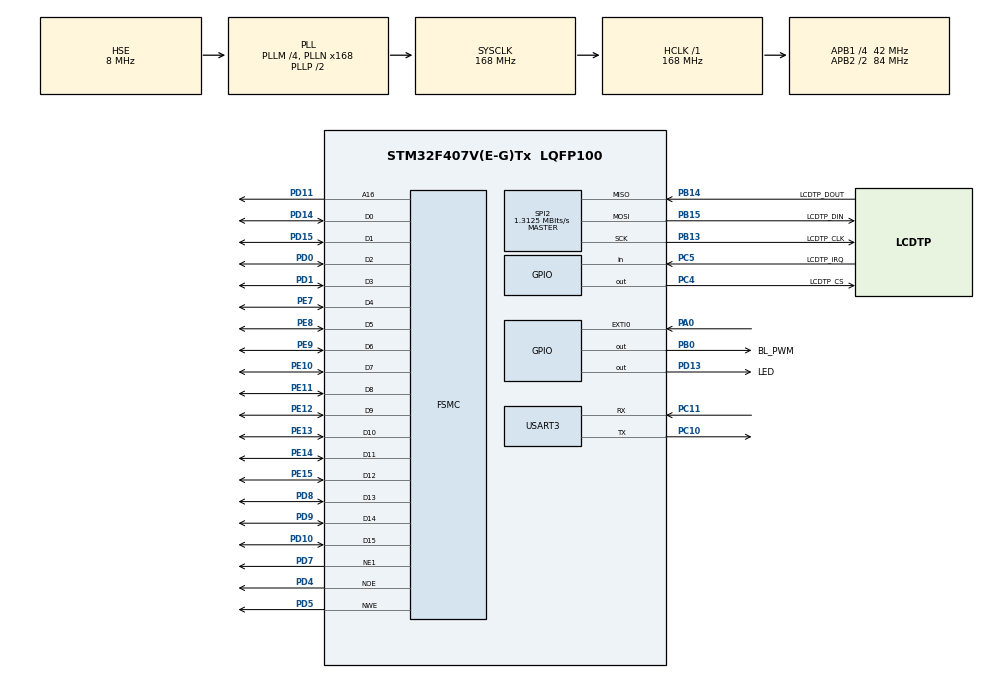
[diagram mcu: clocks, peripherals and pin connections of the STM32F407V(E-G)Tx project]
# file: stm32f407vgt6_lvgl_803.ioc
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Dma.MEMTOMEM.0.Direction=DMA_MEMORY_TO_MEMORY
Dma.MEMTOMEM.0.FIFOMode=DMA_FIFOMODE_ENABLE
Dma.MEMTOMEM.0.FIFOThreshold=DMA_FIFO_THRESHOLD_FULL
Dma.MEMTOMEM.0.Instance=DMA2_Stream0
Dma.MEMTOMEM.0.MemBurst=DMA_MBURST_SINGLE
Dma.MEMTOMEM.0.MemDataAlignment=DMA_MDATAALIGN_HALFWORD
Dma.MEMTOMEM.0.MemInc=DMA_MINC_ENABLE
Dma.MEMTOMEM.0.Mode=DMA_NORMAL
Dma.MEMTOMEM.0.PeriphBurst=DMA_PBURST_SINGLE
Dma.MEMTOMEM.0.PeriphDataAlignment=DMA_PDATAALIGN_HALFWORD
Dma.MEMTOMEM.0.PeriphInc=DMA_PINC_ENABLE
Dma.MEMTOMEM.0.Priority=DMA_PRIORITY_VERY_HIGH
Dma.Request0=MEMTOMEM
FSMC.AddressSetupTime1=0x02
FSMC.BusTurnAroundDuration1=0x00
FSMC.DataSetupTime1=0x05
Mcu.Family=STM32F4
Mcu.Name=STM32F407V(E-G)Tx
Mcu.Package=LQFP100
NVIC.DMA2_Stream0_IRQn=true\:1\:0\:true\:false\:true\:true\:true
NVIC.EXTI0_IRQn=true\:5\:0\:true\:false\:true\:true\:true
NVIC.PriorityGroup=NVIC_PRIORITYGROUP_4
PA0-WKUP.GPIO_ModeDefaultEXTI=GPIO_MODE_IT_FALLING
PA0-WKUP.Signal=GPXTI0
PB0.GPIO_Label=BL_PWM
PB0.Signal=GPIO_Output
PB13.GPIO_Label=LCDTP_CLK
PB13.Mode=Full_Duplex_Master
PB13.Signal=SPI2_SCK
PB14.GPIO_Label=LCDTP_DOUT
PB14.Mode=Full_Duplex_Master
PB14.Signal=SPI2_MISO
PB15.GPIO_Label=LCDTP_DIN
PB15.Mode=Full_Duplex_Master
PB15.Signal=SPI2_MOSI
PC10.Mode=Asynchronous
PC10.Signal=USART3_TX
PC11.Mode=Asynchronous
PC11.Signal=USART3_RX
PC4.GPIO_Label=LCDTP_CS
PC4.Signal=GPIO_Output
PC5.GPIO_Label=LCDTP_IRQ
PC5.Signal=GPIO_Input
PD0.Mode=16b-d1
PD0.Signal=FSMC_D2
PD1.Mode=16b-d1
PD1.Signal=FSMC_D3
PD10.Mode=16b-d1
PD10.Signal=FSMC_D15
PD11.Mode=A16_1
PD11.Signal=FSMC_A16
PD13.GPIO_Label=LED
PD13.Signal=GPIO_Output
PD14.Mode=16b-d1
PD14.Signal=FSMC_D0
PD15.Mode=16b-d1
PD15.Signal=FSMC_D1
PD4.Mode=Lcd1
PD4.Signal=FSMC_NOE
PD5.Mode=Lcd1
PD5.Signal=FSMC_NWE
PD7.Mode=NorPsramChipSelect1_1
PD7.Signal=FSMC_NE1
PD8.Mode=16b-d1
PD8.Signal=FSMC_D13
PD9.Mode=16b-d1
PD9.Signal=FSMC_D14
PE10.Mode=16b-d1
PE10.Signal=FSMC_D7
PE11.Mode=16b-d1
PE11.Signal=FSMC_D8
PE12.Mode=16b-d1
PE12.Signal=FSMC_D9
PE13.Mode=16b-d1
PE13.Signal=FSMC_D10
PE14.Mode=16b-d1
PE14.Signal=FSMC_D11
PE15.Mode=16b-d1
PE15.Signal=FSMC_D12
PE7.Mode=16b-d1
PE7.Signal=FSMC_D4
PE8.Mode=16b-d1
PE8.Signal=FSMC_D5
PE9.Mode=16b-d1
PE9.Signal=FSMC_D6
PH0-OSC_IN.Mode=HSE-External-Oscillator
PH0-OSC_IN.Signal=RCC_OSC_IN
PH1-OSC_OUT.Mode=HSE-External-Oscillator
PH1-OSC_OUT.Signal=RCC_OSC_OUT
ProjectManager.HeapSize=0x200
ProjectManager.StackSize=0x400
ProjectManager.TargetToolchain=STM32CubeIDE
RCC.48MHZClocksFreq_Value=84000000
RCC.AHBFreq_Value=168000000
RCC.APB1CLKDivider=RCC_HCLK_DIV4
RCC.APB1Freq_Value=42000000
RCC.APB1TimFreq_Value=84000000
RCC.APB2CLKDivider=RCC_HCLK_DIV2
RCC.APB2Freq_Value=84000000
RCC.APB2TimFreq_Value=168000000
RCC.CortexFreq_Value=168000000
RCC.HCLKFreq_Value=168000000
RCC.HSE_VALUE=8000000
RCC.HSI_VALUE=16000000
RCC.LSE_VALUE=32768
RCC.LockedElements=AHBOutput
RCC.PLLM=4
RCC.PLLN=168
RCC.PLLSourceVirtual=RCC_PLLSOURCE_HSE
RCC.SYSCLKFreq_VALUE=168000000
RCC.SYSCLKSource=RCC_SYSCLKSOURCE_PLLCLK
RCC.VCOOutputFreq_Value=336000000
SPI2.BaudRatePrescaler=SPI_BAUDRATEPRESCALER_32
SPI2.CalculateBaudRate=1.3125 MBits/s
SPI2.Direction=SPI_DIRECTION_2LINES
SPI2.Mode=SPI_MODE_MASTER
SPI2.VirtualType=VM_MASTER
USART3.VirtualMode=VM_ASYNC
board=custom

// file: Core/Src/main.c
/* USER CODE BEGIN Header */
/**
  ******************************************************************************
  * @file           : main.c
  * @brief          : Main program body
  ******************************************************************************
  * @attention
  *
  * <h2><center>&copy; Copyright (c) 2022 STMicroelectronics.
  * All rights reserved.</center></h2>
  *
  * This software component is licensed by ST under BSD 3-Clause license,
  * the "License"; You may not use this file except in compliance with the
  * License. You may obtain a copy of the License at:
  *                        opensource.org/licenses/BSD-3-Clause
  *
  ******************************************************************************
  */
/* USER CODE END Header */
#include "main.h"

/* USER CODE BEGIN Includes */
#include "lvgl.h"
#include "lv_port_disp.h"

#include "touch_panel.h"

/* USER CODE END Includes */

SPI_HandleTypeDef hspi2;

UART_HandleTypeDef huart3;

DMA_HandleTypeDef hdma_memtomem_dma2_stream0;
SRAM_HandleTypeDef hsram1;

/* USER CODE BEGIN PV */
uint8_t isTouchCalibrate = 0;//start calibrate touchscreen
/* USER CODE END PV */

void SystemClock_Config(void);
static void MX_GPIO_Init(void);
static void MX_DMA_Init(void);
static void MX_FSMC_Init(void);
static void MX_SPI2_Init(void);
static void MX_USART3_UART_Init(void);

/* USER CODE BEGIN 0 */
static uint8_t lock_exti = 0;
void HAL_GPIO_EXTI_Callback(uint16_t GPIO_Pin)
{
   if((GPIO_Pin == GPIO_PIN_0 )&(!lock_exti)) // если прерывание поступило от ножки PA0
   {
	  isTouchCalibrate = true;
      lock_exti++;
   }
}

static void event_handler(lv_event_t * e)
{
    lv_event_code_t code = lv_event_get_code(e);

    if(code == LV_EVENT_CLICKED) {
        LV_LOG_USER("Clicked");
    }
    else if(code == LV_EVENT_VALUE_CHANGED) {
        LV_LOG_USER("Toggled");
    }
}

/* USER CODE END 0 */

int main(void)
{

  /* MCU Configuration--------------------------------------------------------*/

  /* Reset of all peripherals, Initializes the Flash interface and the Systick. */
  HAL_Init();

  /* Configure the system clock */
  SystemClock_Config();

  /* Initialize all configured peripherals */
  MX_GPIO_Init();
  MX_DMA_Init();
  MX_FSMC_Init();
  MX_SPI2_Init();
  MX_USART3_UART_Init();
  /* USER CODE BEGIN 2 */
  //
HAL_Delay(1000);
HAL_GPIO_WritePin(LED_GPIO_Port, LED_Pin, GPIO_PIN_SET);
HAL_Delay(1000);
HAL_GPIO_WritePin(LED_GPIO_Port, LED_Pin, GPIO_PIN_RESET);

ILI9325_Init();
TouchPanel_Calibrate_default();

lv_init();
lv_port_disp_init();
lv_port_indev_init();

lv_demo_widgets();
/* USER CODE END 2 */

  /* Infinite loop */
  /* USER CODE BEGIN WHILE */
  while (1)
  {
	  if(isTouchCalibrate)
	  {
		  isTouchCalibrate = false;
		  TouchPanel_Calibrate();
		  lock_exti = 0;
	  }

    /* USER CODE END WHILE */

    /* USER CODE BEGIN 3 */
	  lv_task_handler();
	  HAL_Delay(10);
  }
  /* USER CODE END 3 */
}

void SystemClock_Config(void)
{
  RCC_OscInitTypeDef RCC_OscInitStruct = {0};
  RCC_ClkInitTypeDef RCC_ClkInitStruct = {0};

  /** Configure the main internal regulator output voltage
  */
  __HAL_RCC_PWR_CLK_ENABLE();
  __HAL_PWR_VOLTAGESCALING_CONFIG(PWR_REGULATOR_VOLTAGE_SCALE1);
  /** Initializes the RCC Oscillators according to the specified parameters
  * in the RCC_OscInitTypeDef structure.
  */
  RCC_OscInitStruct.OscillatorType = RCC_OSCILLATORTYPE_HSE;
  RCC_OscInitStruct.HSEState = RCC_HSE_ON;
  RCC_OscInitStruct.PLL.PLLState = RCC_PLL_ON;
  RCC_OscInitStruct.PLL.PLLSource = RCC_PLLSOURCE_HSE;
  RCC_OscInitStruct.PLL.PLLM = 4;
  RCC_OscInitStruct.PLL.PLLN = 168;
  RCC_OscInitStruct.PLL.PLLP = RCC_PLLP_DIV2;
  RCC_OscInitStruct.PLL.PLLQ = 4;
  if (HAL_RCC_OscConfig(&RCC_OscInitStruct) != HAL_OK)
  {
    Error_Handler();
  }
  /** Initializes the CPU, AHB and APB buses clocks
  */
  RCC_ClkInitStruct.ClockType = RCC_CLOCKTYPE_HCLK|RCC_CLOCKTYPE_SYSCLK
                              |RCC_CLOCKTYPE_PCLK1|RCC_CLOCKTYPE_PCLK2;
  RCC_ClkInitStruct.SYSCLKSource = RCC_SYSCLKSOURCE_PLLCLK;
  RCC_ClkInitStruct.AHBCLKDivider = RCC_SYSCLK_DIV1;
  RCC_ClkInitStruct.APB1CLKDivider = RCC_HCLK_DIV4;
  RCC_ClkInitStruct.APB2CLKDivider = RCC_HCLK_DIV2;

  if (HAL_RCC_ClockConfig(&RCC_ClkInitStruct, FLASH_LATENCY_5) != HAL_OK)
  {
    Error_Handler();
  }
}

static void MX_SPI2_Init(void)
{

  /* SPI2 parameter configuration*/
  hspi2.Instance = SPI2;
  hspi2.Init.Mode = SPI_MODE_MASTER;
  hspi2.Init.Direction = SPI_DIRECTION_2LINES;
  hspi2.Init.DataSize = SPI_DATASIZE_8BIT;
  hspi2.Init.CLKPolarity = SPI_POLARITY_LOW;
  hspi2.Init.CLKPhase = SPI_PHASE_1EDGE;
  hspi2.Init.NSS = SPI_NSS_SOFT;
  hspi2.Init.BaudRatePrescaler = SPI_BAUDRATEPRESCALER_32;
  hspi2.Init.FirstBit = SPI_FIRSTBIT_MSB;
  hspi2.Init.TIMode = SPI_TIMODE_DISABLE;
  hspi2.Init.CRCCalculation = SPI_CRCCALCULATION_DISABLE;
  hspi2.Init.CRCPolynomial = 10;
  if (HAL_SPI_Init(&hspi2) != HAL_OK)
  {
    Error_Handler();
  }

}

static void MX_USART3_UART_Init(void)
{

  huart3.Instance = USART3;
  huart3.Init.BaudRate = 115200;
  huart3.Init.WordLength = UART_WORDLENGTH_8B;
  huart3.Init.StopBits = UART_STOPBITS_1;
  huart3.Init.Parity = UART_PARITY_NONE;
  huart3.Init.Mode = UART_MODE_TX_RX;
  huart3.Init.HwFlowCtl = UART_HWCONTROL_NONE;
  huart3.Init.OverSampling = UART_OVERSAMPLING_16;
  if (HAL_UART_Init(&huart3) != HAL_OK)
  {
    Error_Handler();
  }

}

static void MX_DMA_Init(void)
{

  /* DMA controller clock enable */
  __HAL_RCC_DMA2_CLK_ENABLE();

  /* Configure DMA request hdma_memtomem_dma2_stream0 on DMA2_Stream0 */
  hdma_memtomem_dma2_stream0.Instance = DMA2_Stream0;
  hdma_memtomem_dma2_stream0.Init.Channel = DMA_CHANNEL_0;
  hdma_memtomem_dma2_stream0.Init.Direction = DMA_MEMORY_TO_MEMORY;
  hdma_memtomem_dma2_stream0.Init.PeriphInc = DMA_PINC_ENABLE;
  hdma_memtomem_dma2_stream0.Init.MemInc = DMA_MINC_ENABLE;
  hdma_memtomem_dma2_stream0.Init.PeriphDataAlignment = DMA_PDATAALIGN_HALFWORD;
  hdma_memtomem_dma2_stream0.Init.MemDataAlignment = DMA_MDATAALIGN_HALFWORD;
  hdma_memtomem_dma2_stream0.Init.Mode = DMA_NORMAL;
  hdma_memtomem_dma2_stream0.Init.Priority = DMA_PRIORITY_VERY_HIGH;
  hdma_memtomem_dma2_stream0.Init.FIFOMode = DMA_FIFOMODE_ENABLE;
  hdma_memtomem_dma2_stream0.Init.FIFOThreshold = DMA_FIFO_THRESHOLD_FULL;
  hdma_memtomem_dma2_stream0.Init.MemBurst = DMA_MBURST_SINGLE;
  hdma_memtomem_dma2_stream0.Init.PeriphBurst = DMA_PBURST_SINGLE;
  if (HAL_DMA_Init(&hdma_memtomem_dma2_stream0) != HAL_OK)
  {
    Error_Handler( );
  }

  /* DMA interrupt init */
  /* DMA2_Stream0_IRQn interrupt configuration */
  HAL_NVIC_SetPriority(DMA2_Stream0_IRQn, 1, 0);
  HAL_NVIC_EnableIRQ(DMA2_Stream0_IRQn);

}

static void MX_GPIO_Init(void)
{
  GPIO_InitTypeDef GPIO_InitStruct = {0};

  /* GPIO Ports Clock Enable */
  __HAL_RCC_GPIOH_CLK_ENABLE();
  __HAL_RCC_GPIOA_CLK_ENABLE();
  __HAL_RCC_GPIOC_CLK_ENABLE();
  __HAL_RCC_GPIOB_CLK_ENABLE();
  __HAL_RCC_GPIOE_CLK_ENABLE();
  __HAL_RCC_GPIOD_CLK_ENABLE();

  /*Configure GPIO pin Output Level */
  HAL_GPIO_WritePin(LCDTP_CS_GPIO_Port, LCDTP_CS_Pin, GPIO_PIN_RESET);

  /*Configure GPIO pin Output Level */
  HAL_GPIO_WritePin(BL_PWM_GPIO_Port, BL_PWM_Pin, GPIO_PIN_RESET);

  /*Configure GPIO pin Output Level */
  HAL_GPIO_WritePin(LED_GPIO_Port, LED_Pin, GPIO_PIN_RESET);

  /*Configure GPIO pin : PA0 */
  GPIO_InitStruct.Pin = GPIO_PIN_0;
  GPIO_InitStruct.Mode = GPIO_MODE_IT_FALLING;
  GPIO_InitStruct.Pull = GPIO_NOPULL;
  HAL_GPIO_Init(GPIOA, &GPIO_InitStruct);

  /*Configure GPIO pin : LCDTP_CS_Pin */
  GPIO_InitStruct.Pin = LCDTP_CS_Pin;
  GPIO_InitStruct.Mode = GPIO_MODE_OUTPUT_PP;
  GPIO_InitStruct.Pull = GPIO_NOPULL;
  GPIO_InitStruct.Speed = GPIO_SPEED_FREQ_LOW;
  HAL_GPIO_Init(LCDTP_CS_GPIO_Port, &GPIO_InitStruct);

  /*Configure GPIO pin : LCDTP_IRQ_Pin */
  GPIO_InitStruct.Pin = LCDTP_IRQ_Pin;
  GPIO_InitStruct.Mode = GPIO_MODE_INPUT;
  GPIO_InitStruct.Pull = GPIO_NOPULL;
  HAL_GPIO_Init(LCDTP_IRQ_GPIO_Port, &GPIO_InitStruct);

  /*Configure GPIO pin : BL_PWM_Pin */
  GPIO_InitStruct.Pin = BL_PWM_Pin;
  GPIO_InitStruct.Mode = GPIO_MODE_OUTPUT_PP;
  GPIO_InitStruct.Pull = GPIO_NOPULL;
  GPIO_InitStruct.Speed = GPIO_SPEED_FREQ_LOW;
  HAL_GPIO_Init(BL_PWM_GPIO_Port, &GPIO_InitStruct);

  /*Configure GPIO pin : LED_Pin */
  GPIO_InitStruct.Pin = LED_Pin;
  GPIO_InitStruct.Mode = GPIO_MODE_OUTPUT_PP;
  GPIO_InitStruct.Pull = GPIO_NOPULL;
  GPIO_InitStruct.Speed = GPIO_SPEED_FREQ_LOW;
  HAL_GPIO_Init(LED_GPIO_Port, &GPIO_InitStruct);

  /* EXTI interrupt init*/
  HAL_NVIC_SetPriority(EXTI0_IRQn, 5, 0);
  HAL_NVIC_EnableIRQ(EXTI0_IRQn);

}

/* FSMC initialization function */
static void MX_FSMC_Init(void)
{

  FSMC_NORSRAM_TimingTypeDef Timing = {0};

  /** Perform the SRAM1 memory initialization sequence
  */
  hsram1.Instance = FSMC_NORSRAM_DEVICE;
  hsram1.Extended = FSMC_NORSRAM_EXTENDED_DEVICE;
  /* hsram1.Init */
  hsram1.Init.NSBank = FSMC_NORSRAM_BANK1;
  hsram1.Init.DataAddressMux = FSMC_DATA_ADDRESS_MUX_DISABLE;
  hsram1.Init.MemoryType = FSMC_MEMORY_TYPE_SRAM;
  hsram1.Init.MemoryDataWidth = FSMC_NORSRAM_MEM_BUS_WIDTH_16;
  hsram1.Init.BurstAccessMode = FSMC_BURST_ACCESS_MODE_DISABLE;
  hsram1.Init.WaitSignalPolarity = FSMC_WAIT_SIGNAL_POLARITY_LOW;
  hsram1.Init.WrapMode = FSMC_WRAP_MODE_DISABLE;
  hsram1.Init.WaitSignalActive = FSMC_WAIT_TIMING_BEFORE_WS;
  hsram1.Init.WriteOperation = FSMC_WRITE_OPERATION_ENABLE;
  hsram1.Init.WaitSignal = FSMC_WAIT_SIGNAL_DISABLE;
  hsram1.Init.ExtendedMode = FSMC_EXTENDED_MODE_DISABLE;
  hsram1.Init.AsynchronousWait = FSMC_ASYNCHRONOUS_WAIT_DISABLE;
  hsram1.Init.WriteBurst = FSMC_WRITE_BURST_DISABLE;
  hsram1.Init.PageSize = FSMC_PAGE_SIZE_NONE;
  /* Timing */
  Timing.AddressSetupTime = 0x02;
  Timing.AddressHoldTime = 15;
  Timing.DataSetupTime = 0x05;
  Timing.BusTurnAroundDuration = 0x00;
  Timing.CLKDivision = 16;
  Timing.DataLatency = 17;
  Timing.AccessMode = FSMC_ACCESS_MODE_A;
  /* ExtTiming */

  if (HAL_SRAM_Init(&hsram1, &Timing, NULL) != HAL_OK)
  {
    Error_Handler( );
  }

}

void Error_Handler(void)
{
  __disable_irq();
  while (1)
  {
  }
}

/************************ (C) COPYRIGHT STMicroelectronics *****END OF FILE****/
